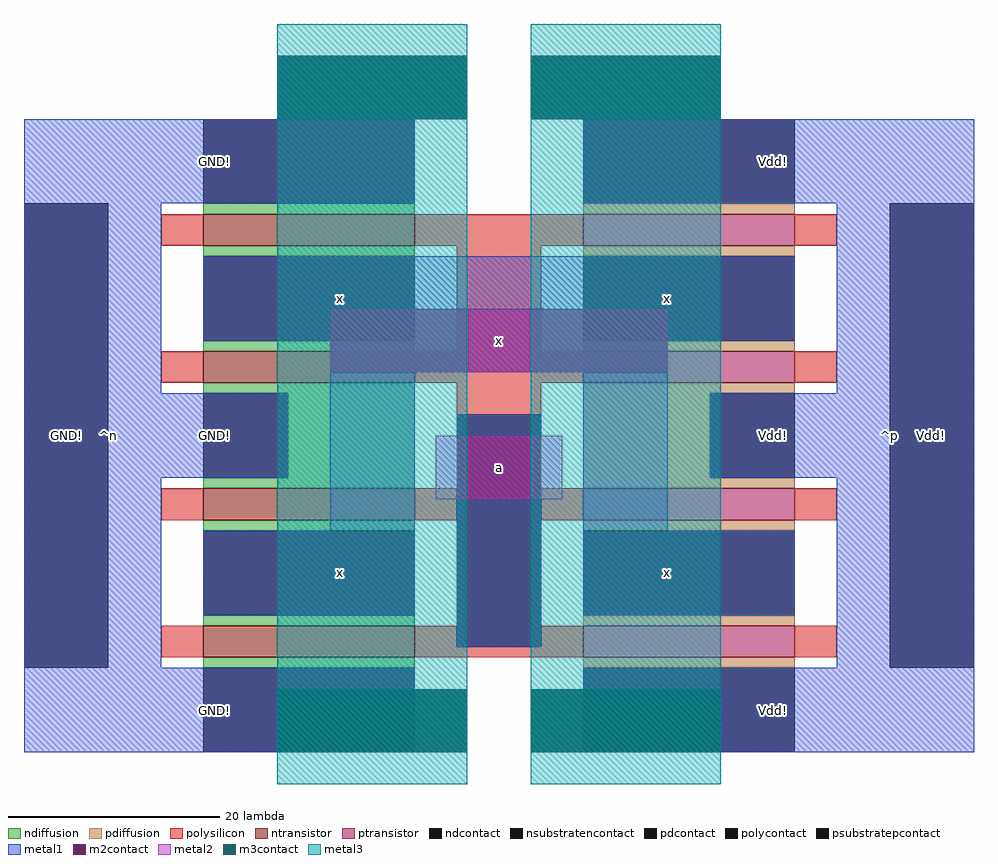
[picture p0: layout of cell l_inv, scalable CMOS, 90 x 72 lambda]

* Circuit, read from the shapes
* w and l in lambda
.subckt l_inv GND! Vdd! a x
M1 x a GND! GND! nfet w=20 l=3 m=4
M2 x a Vdd! Vdd! pfet w=20 l=3 m=4
.ends

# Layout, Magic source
magic
tech scmos
<< ndiffusion >>
rect -28 520 -8 521
rect -28 516 -8 517
rect -28 507 -8 508
rect -28 503 -8 504
rect -20 495 -8 503
rect -28 494 -8 495
rect -28 490 -8 491
rect -28 481 -8 482
rect -28 477 -8 478
<< pdiffusion >>
rect 8 520 28 521
rect 8 516 28 517
rect 8 507 28 508
rect 8 503 28 504
rect 8 495 20 503
rect 8 494 28 495
rect 8 490 28 491
rect 8 481 28 482
rect 8 477 28 478
<< ntransistor >>
rect -28 517 -8 520
rect -28 504 -8 507
rect -28 491 -8 494
rect -28 478 -8 481
<< ptransistor >>
rect 8 517 28 520
rect 8 504 28 507
rect 8 491 28 494
rect 8 478 28 481
<< polysilicon >>
rect -32 517 -28 520
rect -8 517 8 520
rect 28 517 32 520
rect -4 507 4 517
rect -32 504 -28 507
rect -8 504 8 507
rect 28 504 32 507
rect -4 501 4 504
rect -32 491 -28 494
rect -8 491 -4 494
rect -32 478 -28 481
rect -8 479 -4 481
rect 4 491 8 494
rect 28 491 32 494
rect 4 479 8 481
rect -8 478 8 479
rect 28 478 32 481
<< ndcontact >>
rect -28 521 -8 529
rect -28 508 -8 516
rect -28 495 -20 503
rect -28 482 -8 490
rect -28 469 -8 477
<< pdcontact >>
rect 8 521 28 529
rect 8 508 28 516
rect 20 495 28 503
rect 8 482 28 490
rect 8 469 28 477
<< psubstratepcontact >>
rect -45 477 -37 521
<< nsubstratencontact >>
rect 37 477 45 521
<< polycontact >>
rect -4 479 4 501
<< metal1 >>
rect -45 521 -8 529
rect 8 521 45 529
rect -45 503 -32 521
rect -28 511 28 516
rect -28 508 -16 511
rect 16 508 28 511
rect -45 495 -20 503
rect -45 477 -32 495
rect -16 490 -8 505
rect -28 482 -8 490
rect -4 499 4 501
rect -4 479 4 493
rect 8 490 16 505
rect 32 503 45 521
rect 20 495 45 503
rect 8 482 28 490
rect 32 477 45 495
rect -45 475 -8 477
rect 8 475 45 477
rect -45 469 -21 475
rect 21 469 45 475
<< m2contact >>
rect -21 529 -3 535
rect 3 529 21 535
rect -16 505 16 511
rect -4 493 4 499
rect -21 469 -3 475
rect 3 469 21 475
<< metal2 >>
rect -16 505 16 511
rect -6 493 6 499
<< m3contact >>
rect -21 529 -3 535
rect 3 529 21 535
rect -21 469 -3 475
rect 3 469 21 475
<< metal3 >>
rect -21 466 -3 538
rect 3 466 21 538
<< labels >>
rlabel ndcontact -15 512 -15 512 1 x
rlabel ndcontact -15 486 -15 486 1 x
rlabel pdcontact 16 512 16 512 1 x
rlabel pdcontact 16 486 16 486 1 x
rlabel space -52 468 -22 530 7 ^n
rlabel space 22 468 52 530 3 ^p
rlabel metal2 0 505 0 511 1 x
rlabel metal2 0 493 0 499 1 a
rlabel ndcontact -27 473 -27 473 1 GND!
rlabel ndcontact -27 499 -27 499 5 GND!
rlabel ndcontact -27 525 -27 525 5 GND!
rlabel metal1 -41 499 -41 499 3 GND!
rlabel pdcontact 26 473 26 473 1 Vdd!
rlabel pdcontact 26 499 26 499 5 Vdd!
rlabel pdcontact 26 525 26 525 5 Vdd!
rlabel metal1 41 499 41 499 7 Vdd!
<< end >>
